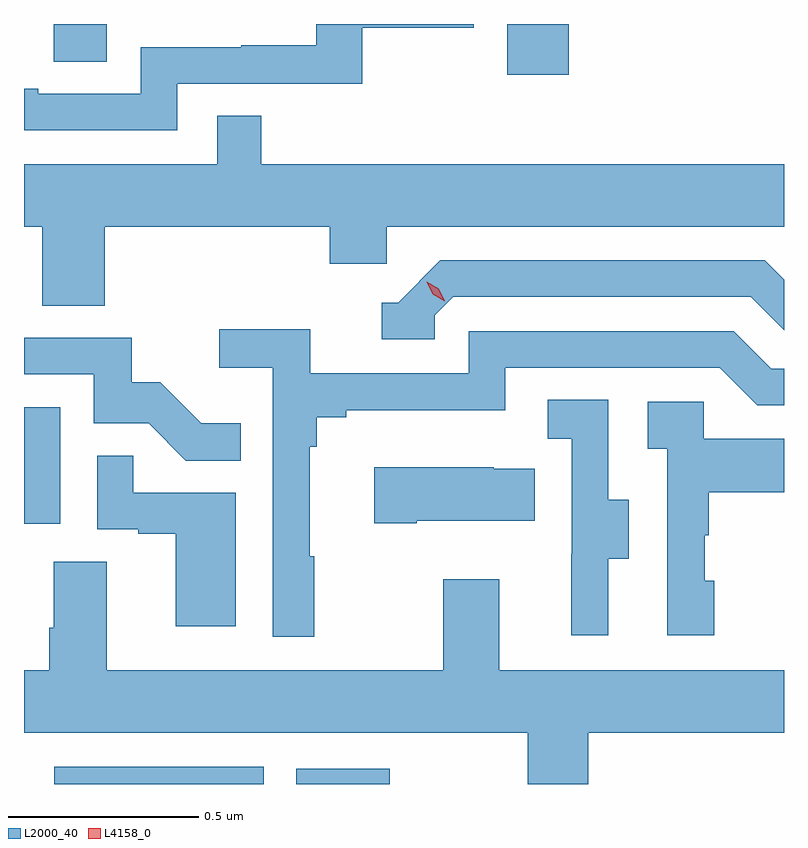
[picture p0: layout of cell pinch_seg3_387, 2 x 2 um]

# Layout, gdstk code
import gdstk
lib = gdstk.Library(unit=1e-6, precision=1e-09)
def R(c, l, rs):  # rectangles x0, y0, x1, y1
    for r in rs: c.add(gdstk.rectangle(r[:2], r[2:], *l))
def P(c, l, *ps):  # polygons
    for p in ps: c.add(gdstk.Polygon(p, *l))
L2000_40 = (2000, 40)
L4158_0 = (4158, 0)

pinch_seg3_387 = lib.new_cell('pinch_seg3_387')
R(pinch_seg3_387, L2000_40, [(1001.742,686.129,1002.294,686.175), (1002.379,686.129,1002.625,686.169), (1001.663,686.814,1001.758,687.121), (1002.935,687.996,1003.096,688.129), (1001.741,688.03,1001.881,688.129)])
P(pinch_seg3_387, L2000_40, [(1002.066,687.972),(1002.553,687.972),(1002.553,688.119),(1002.846,688.119),(1002.846,688.129),(1002.432,688.129),(1002.432,688.073),(1002.235,688.073),(1002.235,688.068),(1001.97,688.068),(1001.97,687.945),(1001.701,687.945),(1001.701,687.958),(1001.663,687.958),(1001.663,687.849),(1002.066,687.849)],
  [(1001.876,687.596),(1002.467,687.596),(1002.467,687.498),(1002.618,687.498),(1002.618,687.596),(1003.663,687.596),(1003.663,687.76),(1002.287,687.76),(1002.287,687.887),(1002.171,687.887),(1002.171,687.76),(1001.663,687.76),(1001.663,687.596),(1001.711,687.596),(1001.711,687.388),(1001.876,687.388)],
  [(1002.744,687.363),(1002.792,687.411),(1003.575,687.411),(1003.663,687.323),(1003.663,687.456),(1003.612,687.507),(1002.759,687.507),(1002.648,687.396),(1002.605,687.396),(1002.605,687.3),(1002.744,687.3)],
  [(1002.427,686.729),(1002.415,686.729),(1002.415,687.017),(1002.434,687.017),(1002.434,687.094),(1002.511,687.094),(1002.511,687.113),(1002.93,687.113),(1002.93,687.225),(1003.494,687.225),(1003.593,687.126),(1003.663,687.126),(1003.663,687.222),(1003.63,687.222),(1003.531,687.321),(1002.834,687.321),(1002.834,687.21),(1002.416,687.21),(1002.416,687.326),(1002.177,687.326),(1002.177,687.224),(1002.318,687.224),(1002.318,686.517),(1002.427,686.517)],
  [(1002.233,687.079),(1002.129,687.079),(1002.022,687.186),(1001.946,687.186),(1001.946,687.303),(1001.663,687.303),(1001.663,687.207),(1001.847,687.207),(1001.847,687.078),(1001.991,687.078),(1002.089,686.98),(1002.233,686.98)],
  [(1003.201,686.722),(1003.255,686.722),(1003.255,686.877),(1003.2,686.877),(1003.2,687.14),(1003.041,687.14),(1003.041,687.037),(1003.104,687.037),(1003.104,686.733),(1003.103,686.733),(1003.103,686.52),(1003.201,686.52)],
  [(1003.48,686.664),(1003.455,686.664),(1003.455,686.783),(1003.465,686.783),(1003.465,686.897),(1003.663,686.897),(1003.663,687.037),(1003.452,687.037),(1003.452,687.135),(1003.305,687.135),(1003.305,687.011),(1003.356,687.011),(1003.356,686.52),(1003.48,686.52)],
  [(1002.22,686.895),(1001.951,686.895),(1001.951,686.993),(1001.856,686.993),(1001.856,686.799),(1001.963,686.799),(1001.963,686.787),(1002.062,686.787),(1002.062,686.544),(1002.22,686.544)],
  [(1002.697,686.822),(1003.007,686.822),(1003.007,686.959),(1002.899,686.959),(1002.899,686.962),(1002.585,686.962),(1002.585,686.815),(1002.697,686.815)],
  [(1003.148,686.264),(1003.663,686.264),(1003.663,686.428),(1002.913,686.428),(1002.913,686.668),(1002.766,686.668),(1002.766,686.428),(1001.881,686.428),(1001.881,686.714),(1001.741,686.714),(1001.741,686.54),(1001.729,686.54),(1001.729,686.428),(1001.663,686.428),(1001.663,686.264),(1002.988,686.264),(1002.988,686.129),(1003.148,686.129)])
P(pinch_seg3_387, L4158_0, [(1002.77,687.399),(1002.739,687.418),(1002.723,687.451),(1002.723,687.451),(1002.723,687.451),(1002.754,687.432),(1002.77,687.399),(1002.77,687.399)])

lib.write_gds('pinch_seg3_387.gds')
